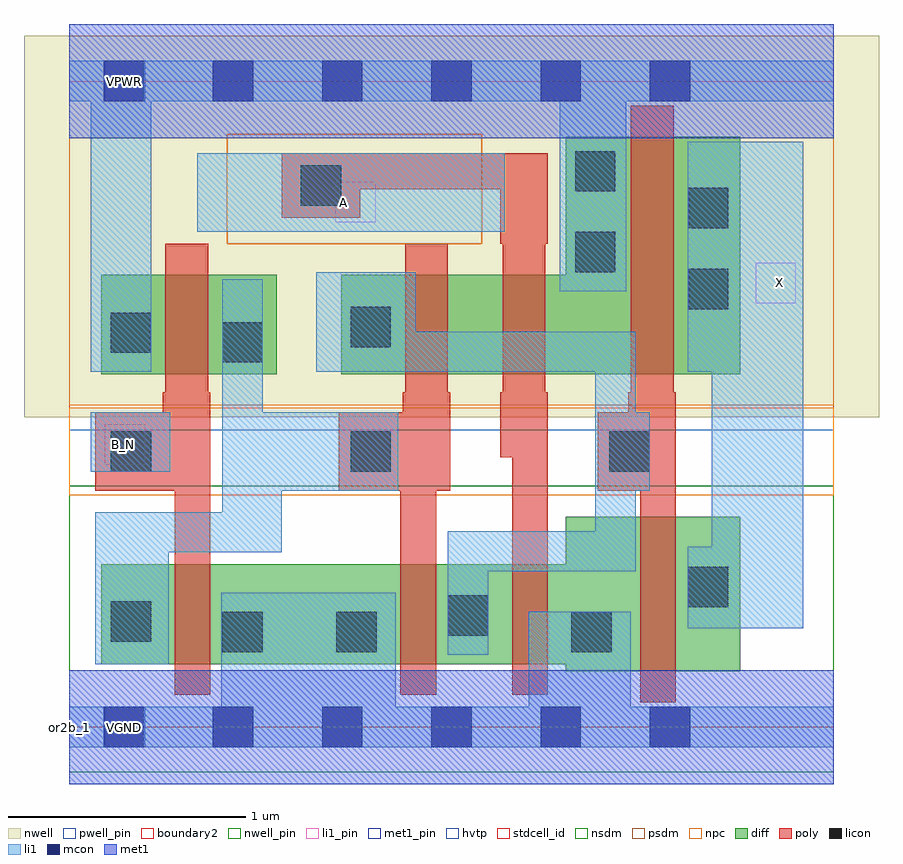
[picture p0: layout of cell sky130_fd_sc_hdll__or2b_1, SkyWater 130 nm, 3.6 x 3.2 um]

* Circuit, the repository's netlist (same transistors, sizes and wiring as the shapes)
* Copyright 2020 The SkyWater PDK Authors
*
* Licensed under the Apache License, Version 2.0 (the "License");
* you may not use this file except in compliance with the License.
* You may obtain a copy of the License at
*
*     https://www.apache.org/licenses/LICENSE-2.0
*
* Unless required by applicable law or agreed to in writing, software
* distributed under the License is distributed on an "AS IS" BASIS,
* WITHOUT WARRANTIES OR CONDITIONS OF ANY KIND, either express or implied.
* See the License for the specific language governing permissions and
* limitations under the License.
*
* SPDX-License-Identifier: Apache-2.0

.SUBCKT sky130_fd_sc_hdll__or2b_1 A B_N VGND VNB VPB VPWR X
*.PININFO A:I B_N:I VGND:I VNB:I VPB:I VPWR:I X:O
MMP0 VPWR A sndPA VPB sky130_fd_pr__pfet_01v8_hvt m=1 w=0.42U l=0.18U mult=1 sa=0.265
+ sb=0.265 sd=0.28 area=0.063 perim=1.14
MMP1 sndPA B y VPB sky130_fd_pr__pfet_01v8_hvt m=1 w=0.42U l=0.18U mult=1 sa=0.265
+ sb=0.265 sd=0.28 area=0.063 perim=1.14
MMIP1 B B_N VPWR VPB sky130_fd_pr__pfet_01v8_hvt m=1 w=0.42U l=0.18U mult=1 sa=0.265
+ sb=0.265 sd=0.28 area=0.063 perim=1.14
MMIP2 X y VPWR VPB sky130_fd_pr__pfet_01v8_hvt m=1 w=1.0U l=0.18U mult=1 sa=0.265
+ sb=0.265 sd=0.28 area=0.063 perim=1.14
MMN0 y A VGND VNB sky130_fd_pr__nfet_01v8 m=1 w=0.42U l=0.15U mult=1 sa=0.265 sb=0.265
+ sd=0.28 area=0.063 perim=1.14
MMN1 y B VGND VNB sky130_fd_pr__nfet_01v8 m=1 w=0.42U l=0.15U mult=1 sa=0.265 sb=0.265
+ sd=0.28 area=0.063 perim=1.14
MMIN1 B B_N VGND VNB sky130_fd_pr__nfet_01v8 m=1 w=0.42U l=0.15U mult=1 sa=0.265
+ sb=0.265 sd=0.28 area=0.063 perim=1.14
MMIN2 X y VGND VNB sky130_fd_pr__nfet_01v8 m=1 w=0.65U l=0.15U mult=1 sa=0.265
+ sb=0.265 sd=0.28 area=0.063 perim=1.14
.ENDS sky130_fd_sc_hdll__or2b_1

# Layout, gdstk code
import gdstk
lib = gdstk.Library(unit=1e-6, precision=1e-09)
def R(c, l, rs):  # rectangles x0, y0, x1, y1
    for r in rs: c.add(gdstk.rectangle(r[:2], r[2:], *l))
def A(c, l, x, y, w, h, nx, ny, dx, dy):  # array of equal rectangles
    R(c, l, [(x+i*dx, y+j*dy, x+i*dx+w, y+j*dy+h) for i in range(nx) for j in range(ny)])
def P(c, l, *ps):  # polygons
    for p in ps: c.add(gdstk.Polygon(p, *l))
nwell_pin = (64, 16)
nwell = (64, 20)
diff = (65, 20)
poly = (66, 20)
licon = (66, 44)
li1_pin = (67, 16)
li1 = (67, 20)
mcon = (67, 44)
met1_pin = (68, 16)
met1 = (68, 20)
hvtp = (78, 44)
stdcell_id = (81, 4)
nsdm = (93, 44)
psdm = (94, 20)
npc = (95, 20)
pwell_pin = (122, 16)
boundary2 = (236, 0)

sky130_fd_sc_hdll__or2b_ = lib.new_cell('sky130_fd_sc_hdll__or2b_1')
R(sky130_fd_sc_hdll__or2b_, nwell_pin, [(0.15,2.635,0.32,2.805)])
R(sky130_fd_sc_hdll__or2b_, nwell, [(-0.19,1.305,3.41,2.91)])
R(sky130_fd_sc_hdll__or2b_, diff, [(0.135,1.485,0.875,1.905)])
P(sky130_fd_sc_hdll__or2b_, diff, [(2.825,2.485),(2.09,2.485),(2.09,1.905),(1.145,1.905),(1.145,1.485),(2.825,1.485)],
  [(2.825,0.885),(2.09,0.885),(2.09,0.685),(0.135,0.685),(0.135,0.265),(2.09,0.265),(2.09,0.235),(2.825,0.235)])
P(sky130_fd_sc_hdll__or2b_, poly, [(0.595,1.41),(0.585,1.41),(0.585,2.035),(0.405,2.035),(0.405,1.41),(0.395,1.41),(0.395,1.325),(0.11,1.325),(0.11,0.995),(0.445,0.995),(0.445,0.135),(0.595,0.135)],
  [(1.605,1.41),(1.595,1.41),(1.595,2.035),(1.415,2.035),(1.415,1.41),(1.405,1.41),(1.405,1.325),(1.135,1.325),(1.135,0.995),(1.395,0.995),(1.395,0.135),(1.545,0.135),(1.545,0.995),(1.605,0.995)],
  [(2.015,2.415),(0.895,2.415),(0.895,2.145),(1.225,2.145),(1.225,2.265),(1.815,2.265),(1.815,2.035),(1.825,2.035),(1.825,1.41),(1.815,1.41),(1.815,1.135),(1.865,1.135),(1.865,0.135),(2.015,0.135),(2.015,1.41),(2.005,1.41),(2.005,2.035),(2.015,2.035)],
  [(2.555,1.41),(2.545,1.41),(2.545,2.615),(2.365,2.615),(2.365,1.41),(2.355,1.41),(2.355,1.325),(2.225,1.325),(2.225,0.995),(2.405,0.995),(2.405,0.105),(2.555,0.105)])
R(sky130_fd_sc_hdll__or2b_, licon, [(0.645,0.315,0.815,0.485), (1.125,0.315,1.295,0.485), (2.115,0.315,2.285,0.485), (0.175,0.36,0.345,0.53), (1.595,0.385,1.765,0.555), (2.605,0.505,2.775,0.675), (0.175,1.075,0.345,1.245), (1.185,1.075,1.355,1.245), (2.275,1.075,2.445,1.245), (0.645,1.535,0.815,1.705), (0.175,1.575,0.345,1.745), (1.185,1.6,1.355,1.77), (2.605,1.76,2.775,1.93), (2.13,1.915,2.3,2.085), (2.605,2.1,2.775,2.27), (0.975,2.195,1.145,2.365), (2.13,2.255,2.3,2.425)])
R(sky130_fd_sc_hdll__or2b_, li1_pin, [(0.15,1.105,0.32,1.275), (2.89,1.785,3.06,1.955), (1.12,2.125,1.29,2.295)])
R(sky130_fd_sc_hdll__or2b_, li1, [(0.09,1.075,0.425,1.325), (0.54,2.085,1.835,2.415)])
P(sky130_fd_sc_hdll__or2b_, li1, [(3.22,0.085),(2.365,0.085),(2.365,0.485),(1.935,0.485),(1.935,0.085),(1.375,0.085),(1.375,0.565),(0.64,0.565),(0.64,0.085),(0,0.085),(0,-0.085),(3.22,-0.085)],
  [(3.22,2.805),(0,2.805),(0,2.635),(0.09,2.635),(0.09,1.495),(0.345,1.495),(0.345,2.635),(2.065,2.635),(2.065,1.835),(2.345,1.835),(2.345,2.635),(3.22,2.635)],
  [(1.385,1.325),(0.815,1.325),(0.815,1.885),(0.645,1.885),(0.645,0.905),(0.11,0.905),(0.11,0.265),(0.42,0.265),(0.42,0.735),(0.895,0.735),(0.895,0.995),(1.385,0.995)],
  [(2.445,1.325),(2.385,1.325),(2.385,1.665),(1.46,1.665),(1.46,1.915),(1.04,1.915),(1.04,1.495),(2.215,1.495),(2.215,0.825),(1.595,0.825),(1.595,0.305),(1.765,0.305),(1.765,0.655),(2.385,0.655),(2.385,0.995),(2.445,0.995)],
  [(3.09,2.465),(2.605,2.465),(2.605,1.495),(2.705,1.495),(2.705,0.76),(2.605,0.76),(2.605,0.415),(3.09,0.415)])
A(sky130_fd_sc_hdll__or2b_, mcon, 0.145, -0.085, 0.17, 0.17, 6, 2, 0.46, 2.72)
R(sky130_fd_sc_hdll__or2b_, met1_pin, [(0.15,-0.085,0.32,0.085), (0.15,2.635,0.32,2.805)])
R(sky130_fd_sc_hdll__or2b_, met1, [(0,-0.24,3.22,0.24), (0,2.48,3.22,2.96)])
R(sky130_fd_sc_hdll__or2b_, hvtp, [(0,1.25,3.22,2.72)])
R(sky130_fd_sc_hdll__or2b_, stdcell_id, [(0,0,3.22,2.72)])
R(sky130_fd_sc_hdll__or2b_, nsdm, [(0,-0.19,3.22,1.015)])
P(sky130_fd_sc_hdll__or2b_, psdm, [(3.22,2.91),(1.735,2.91),(1.735,2.035),(0.665,2.035),(0.665,2.495),(1.735,2.495),(1.735,2.91),(0,2.91),(0,1.355),(3.22,1.355)])
R(sky130_fd_sc_hdll__or2b_, npc, [(0,0.975,3.22,1.345), (0.665,2.035,1.74,2.495)])
R(sky130_fd_sc_hdll__or2b_, pwell_pin, [(0.15,-0.085,0.32,0.085)])
R(sky130_fd_sc_hdll__or2b_, boundary2, [(0,0,3.22,2.72)])
sky130_fd_sc_hdll__or2b_.add(gdstk.Label('A', (1.155,2.21), layer=67, texttype=5))
sky130_fd_sc_hdll__or2b_.add(gdstk.Label('B_N', (0.23,1.19), layer=67, texttype=5))
sky130_fd_sc_hdll__or2b_.add(gdstk.Label('X', (2.99,1.87), layer=67, texttype=5))
sky130_fd_sc_hdll__or2b_.add(gdstk.Label('VGND', (0.235,0), layer=68, texttype=5))
sky130_fd_sc_hdll__or2b_.add(gdstk.Label('VPWR', (0.235,2.72), layer=68, texttype=5))
sky130_fd_sc_hdll__or2b_.add(gdstk.Label('VNB', (0.235,0), layer=64, texttype=59))
sky130_fd_sc_hdll__or2b_.add(gdstk.Label('VPB', (0.235,2.72), layer=64, texttype=5))
sky130_fd_sc_hdll__or2b_.add(gdstk.Label('or2b_1', (0,0), layer=83, texttype=44))

lib.write_gds('sky130_fd_sc_hdll__or2b_1.gds')
